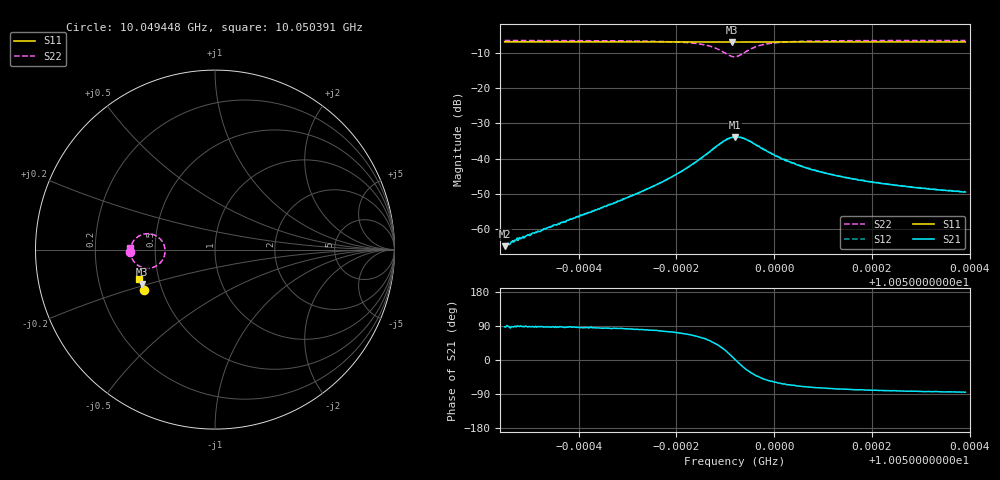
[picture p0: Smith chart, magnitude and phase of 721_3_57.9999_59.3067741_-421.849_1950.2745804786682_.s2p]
#  HZ  S  RI  R  50.00
! Rohde & Schwarz Vector Network Analyzer
! Rohde-Schwarz,ZNB20-2Port,1311601062101988,3.16
! Created: UTC 3/21/2024, 1:22:41 AM
! freq[Hz]  re:S11  im:S11  re:S21  im:S21  re:S12  im:S12  re:S22  im:S22
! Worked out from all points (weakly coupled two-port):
!   401 points, 10.049448 GHz to 10.050391 GHz, reference 50 ohm
!   highest |S21| = -33.82 dB at 10.04992 GHz (marker M1); lowest = -64.8 dB at 10.049448 GHz (marker M2)
!   lowest |S11| = -6.9 dB at 10.049913 GHz (marker M3), VSWR 2.64, Z = 19.7 - j9.62 ohm
!   |S11| at or under -10 dB: nowhere
!   |S22| runs from -11.1 to -6.5 dB; largest |S21 - S12| = 0.0018
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1.00494481e10  -0.3956 -0.2225  2.52e-05 0.000574  -1.52e-05 0.000602  -0.4738 -0.0154
1.00494528e10  -0.3958 -0.2222  -1.19e-05 0.000598  -3.44e-05 0.000608  -0.4739 -0.0149
1.00494622e10  -0.3961 -0.2217  2.44e-05 0.000671  -3.81e-05 0.000691  -0.4737 -0.0139
1.0049474e10  -0.3965 -0.221  -1.74e-06 0.000751  -3.32e-05 0.000675  -0.4738 -0.0126
1.00496061e10  -0.4005 -0.2131  0.000119 0.00156  3.86e-05 0.00159  -0.4716 0.00431
1.00496721e10  -0.4024 -0.2092  0.000237 0.00235  0.000122 0.00234  -0.4689 0.0156
1.00497641e10  -0.405 -0.2034  0.000986 0.00435  0.000724 0.00437  -0.459 0.0399
1.00498089e10  -0.4061 -0.2004  0.00217 0.0062  0.00177 0.00628  -0.4451 0.0584
1.00498561e10  -0.4071 -0.1972  0.0059 0.00915  0.00533 0.0094  -0.405 0.084
1.00498891e10  -0.4071 -0.1951  0.0132 0.00961  0.0125 0.0103  -0.3359 0.0806
1.00499009e10  -0.407 -0.1945  0.0168 0.00758  0.0161 0.00878  -0.3046 0.0584
1.00499127e10  -0.4069 -0.1941  0.0197 0.00352  0.019 0.00522  -0.2821 0.0188
1.00499198e10  -0.4071 -0.1941  0.0204 0.000527  0.0201 0.00227  -0.2784 -0.0105
1.00499316e10  -0.4076 -0.1939  0.0195 -0.00444  0.0199 -0.00272  -0.2918 -0.0565
1.00499481e10  -0.4082 -0.1935  0.0155 -0.00894  0.0163 -0.00769  -0.3348 -0.0954
1.00499646e10  -0.409 -0.1928  0.0113 -0.0103  0.0122 -0.00954  -0.3775 -0.1041
1.00499811e10  -0.4097 -0.1918  0.00828 -0.0103  0.00914 -0.00977  -0.4079 -0.0985
1.00500212e10  -0.4113 -0.1893  0.00431 -0.00857  0.00498 -0.00851  -0.4455 -0.0739
1.00500778e10  -0.4131 -0.1857  0.00215 -0.00661  0.00263 -0.00657  -0.4632 -0.048
1.00501462e10  -0.4147 -0.1815  0.0012 -0.00523  0.00155 -0.00524  -0.4705 -0.0286
1.00502358e10  -0.4171 -0.1758  0.000673 -0.00426  0.00093 -0.00426  -0.4737 -0.0121
1.00503915e10  -0.4208 -0.1664  0.000298 -0.00336  0.000487 -0.00335  -0.4751 0.00731
